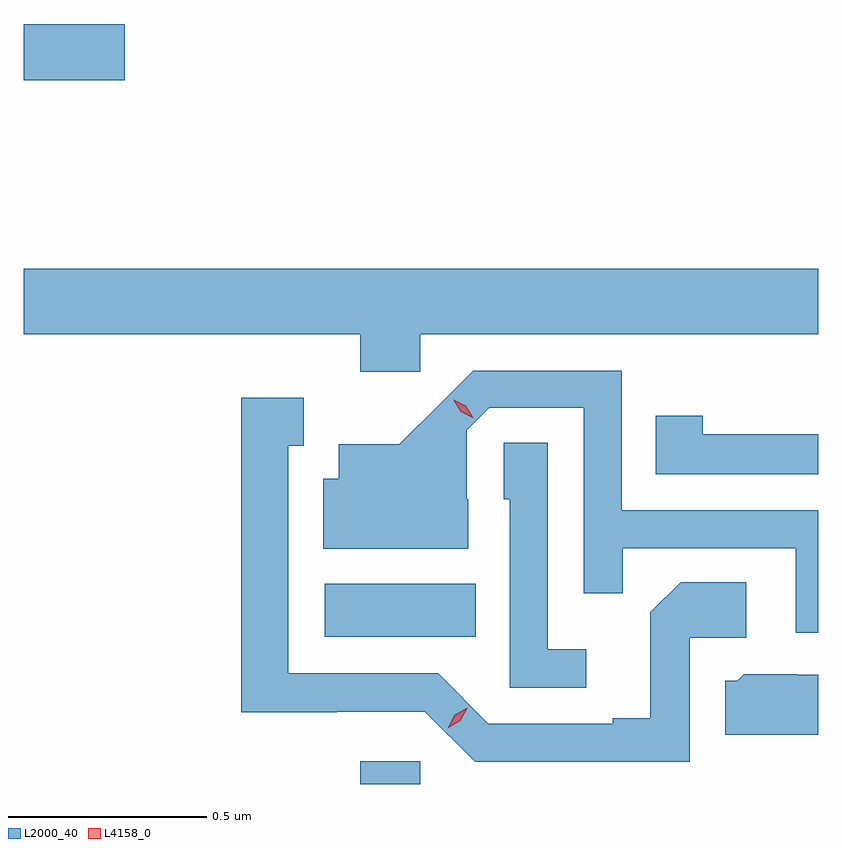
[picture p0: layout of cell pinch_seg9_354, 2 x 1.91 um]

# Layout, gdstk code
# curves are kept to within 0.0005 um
import gdstk
lib = gdstk.Library(unit=1e-6, precision=1e-09)
def R(c, l, rs):  # rectangles x0, y0, x1, y1
    for r in rs: c.add(gdstk.rectangle(r[:2], r[2:], *l))
def P(c, l, *ps):  # polygons
    for p in ps: c.add(gdstk.Polygon(p, *l))
L2000_40 = (2000, 40)
L4158_0 = (4158, 0)

pinch_seg9_354 = lib.new_cell('pinch_seg9_354')
R(pinch_seg9_354, L2000_40, [(633.635,1173.976,633.786,1174.033), (633.546,1174.346,633.926,1174.48), (632.788,1175.746,633.043,1175.888)])
P(pinch_seg9_354, L2000_40, [(633.786,1175.108),(634.788,1175.108),(634.788,1175.272),(632.788,1175.272),(632.788,1175.108),(633.635,1175.108),(633.635,1175.013),(633.786,1175.013)],
  [(634.788,1174.665),(634.293,1174.665),(634.293,1175.016),(633.92,1175.016),(633.733,1174.831),(633.581,1174.831),(633.581,1174.744),(633.542,1174.744),(633.542,1174.568),(633.907,1174.568),(633.907,1174.692),(633.903,1174.692),(633.903,1174.866),(633.96,1174.923),(634.197,1174.923),(634.197,1174.456),(634.295,1174.456),(634.295,1174.569),(634.731,1174.569),(634.731,1174.356),(634.788,1174.356)],
  [(634.464,1174.344),(634.606,1174.344),(634.606,1174.484),(634.441,1174.484),(634.365,1174.408),(634.365,1174.141),(634.271,1174.141),(634.271,1174.128),(633.957,1174.128),(633.831,1174.254),(633.454,1174.254),(633.454,1174.827),(633.493,1174.827),(633.493,1174.948),(633.336,1174.948),(633.336,1174.157),(633.576,1174.157),(633.576,1174.158),(633.798,1174.158),(633.924,1174.032),(634.464,1174.032)],
  [(634.788,1174.856),(634.497,1174.856),(634.497,1174.903),(634.378,1174.903),(634.378,1174.755),(634.788,1174.755)],
  [(634.204,1174.315),(634.107,1174.315),(634.107,1174.835),(633.996,1174.835),(633.996,1174.692),(634.011,1174.692),(634.011,1174.218),(634.204,1174.218)],
  [(634.788,1174.251),(634.734,1174.251),(634.734,1174.252),(634.6,1174.252),(634.584,1174.236),(634.553,1174.236),(634.553,1174.1),(634.788,1174.1)])
P(pinch_seg9_354, L4158_0, [(633.918,1174.898),(633.888,1174.913),(633.87,1174.942),(633.87,1174.943),(633.87,1174.943),(633.901,1174.928),(633.919,1174.898),(633.919,1174.898)],
  [(633.855,1174.116),(633.855,1174.116),(633.872,1174.149),(633.904,1174.168),(633.904,1174.168),(633.904,1174.167),(633.887,1174.135),(633.855,1174.116)])

lib.write_gds('pinch_seg9_354.gds')
